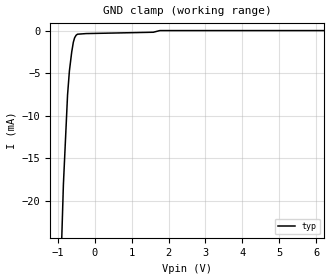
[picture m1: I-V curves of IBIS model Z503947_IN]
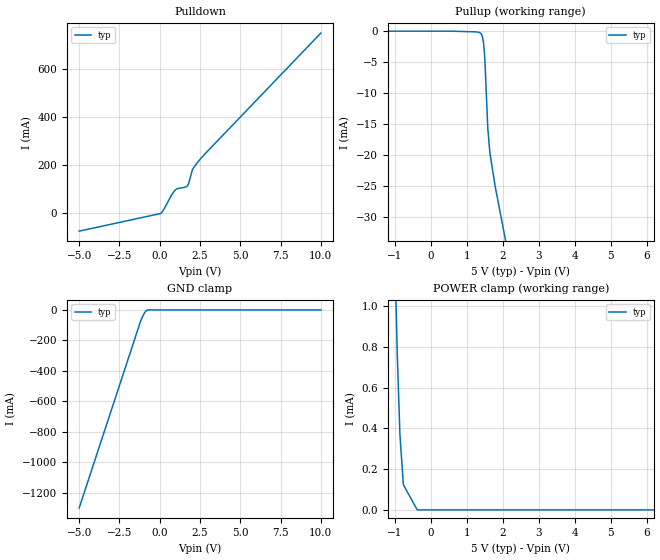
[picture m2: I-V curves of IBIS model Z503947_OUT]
| YOU ARE ONLY AUTHORIZED TO USE THIS SOFTWARE
| ACCORDING TO LICENSOR'S LICENSE RESTRICTIONS.
[IBIS Ver] 3.1
[File Name] mc54f86j.ibs
[File Rev] 2.0
[Source] Measured and created by ICX Technology
[Date] Friday 7/14/00 9:08:03 AM
[Copyright]
| (C) COPYRIGHT 1993-2000
| MENTOR GRAPHICS CORPORATION
| ICX STANDARD LIBRARY, ICX PROJECT MODELING,
| ICX CUSTOM MODELING, ICX VENDOR MODEL
| ALL RIGHTS RESERVED.
| THE FOLLOWING ARE TRADEMARKS OR SERVICE MARKS OF
| MENTOR GRAPHICS CORPORATION:ICX (R), ICX STANDARD
| LIBRARY(R), ICX PROJECT MODELING(R), ICX CUSTOM
| MODELING(R), qualityIBIS(TM), MODELVIEWER(TM),
| AND MODELEDITOR(TM)
| ALL COPIES OF SOFTWARE, INCLUDING BUT NOT LIMITED TO
| ANY MODIFICATIONS, ENHANCEMENTS OR DERIVATIVE WORKS,
| MUST CONTAIN ALL MENTOR GRAPHICS CORPORATION'S
| NOTICES AND LEGENDS, INCLUDING THOSE EMBEDDED IN
| SOFTWARE AND THOSE AFFIXED TO SOFTWARE MEDIUM
| AND CONTAINER, AS RECEIVED FROM MENTOR GRAPHICS
| CORPORATION.
|  ZAP Model Builder 2.7
[Component] MC54F86J
[Manufacturer] OnSemiconductor
[Package]
| variable   typ   min   max
R_pkg  .21ohms NA NA
L_pkg  4.543nH NA NA
C_pkg  1.8pF NA NA
[Pin] signal_name  model_name  R_pin  L_pin C_pin
1 A Z503947_IN .22 6.757n 2.434p
2 B Z503947_IN .212 4.757n 1.941p
3 Y Z503947_OUT .204 3.257n 1.448p
4 A Z503947_IN .196 2.257n .955p
5 B Z503947_IN .204 3.257n 1.448p
6 Y Z503947_OUT .212 4.757n 1.941p
7 GND GND .22 6.757n 2.434p
8 Y Z503947_OUT .22 6.757n 2.434p
9 A Z503947_IN .212 4.757n 1.941p
10 B Z503947_IN .204 3.257n 1.448p
11 Y Z503947_OUT .196 2.257n .955p
12 A Z503947_IN .204 3.257n 1.448p
13 B Z503947_IN .212 4.757n 1.941p
14 VCC POWER .22 6.757n 2.434p
| Models and submodels in the file (2): Z503947_IN (Input), Z503947_OUT (Output)
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| (C) COPYRIGHT 1993-2000
| MENTOR GRAPHICS CORPORATION
| ICX STANDARD LIBRARY, ICX PROJECT MODELING,
| ICX CUSTOM MODELING, ICX VENDOR MODEL
| ALL RIGHTS RESERVED.
| THE FOLLOWING ARE TRADEMARKS OR SERVICE MARKS OF
| MENTOR GRAPHICS CORPORATION:ICX (R), ICX STANDARD
| LIBRARY(R), ICX PROJECT MODELING(R), ICX CUSTOM
| MODELING(R), qualityIBIS(TM), MODELVIEWER(TM),
| AND MODELEDITOR(TM)
| ALL COPIES OF SOFTWARE, INCLUDING BUT NOT LIMITED TO
| ANY MODIFICATIONS, ENHANCEMENTS OR DERIVATIVE WORKS,
| MUST CONTAIN ALL MENTOR GRAPHICS CORPORATION'S
| NOTICES AND LEGENDS, INCLUDING THOSE EMBEDDED IN
| SOFTWARE AND THOSE AFFIXED TO SOFTWARE MEDIUM
| AND CONTAINER, AS RECEIVED FROM MENTOR GRAPHICS
| CORPORATION.
| Model Application Version 1.89 2/18/99.
[Model] Z503947_IN
Model_type Input
Vinl = 800.0mV
Vinh = 2.000V
C_comp 4.000pF NA NA
| variable typ   min   max
[Voltage Range] 5.000V NA NA
[GND Clamp Reference] 0.000V NA NA
[POWER Clamp Reference] 5.000V NA NA
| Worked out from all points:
|   GND clamp passes 1 mA (typ) near -0.55 V on its own axis
[GND Clamp]
-5V       -606.5mA   NA         NA
-844.7mV  -18.07mA   NA         NA
-732.4mV  -7.561mA   NA         NA
-682.8mV  -4.757mA   NA         NA
-620.3mV  -2.532mA   NA         NA
-576.2mV  -1.374mA   NA         NA
-541.9mV  -854.1uA   NA         NA
-501mV    -552.6uA   NA         NA
-463.3mV  -430.6uA   NA         NA
1.588V    -200.1uA   NA         NA
1.763V    -4.701uA   NA         NA
10V       -4.701uA   NA         NA
[POWER Clamp]
-5V       0A         NA         NA
10V       0A         NA         NA
| (C) COPYRIGHT 1993-2000
| MENTOR GRAPHICS CORPORATION
| ICX STANDARD LIBRARY, ICX PROJECT MODELING,
| ICX CUSTOM MODELING, ICX VENDOR MODEL
| ALL RIGHTS RESERVED.
| THE FOLLOWING ARE TRADEMARKS OR SERVICE MARKS OF
| MENTOR GRAPHICS CORPORATION:ICX (R), ICX STANDARD
| LIBRARY(R), ICX PROJECT MODELING(R), ICX CUSTOM
| MODELING(R), qualityIBIS(TM), MODELVIEWER(TM),
| AND MODELEDITOR(TM)
| ALL COPIES OF SOFTWARE, INCLUDING BUT NOT LIMITED TO
| ANY MODIFICATIONS, ENHANCEMENTS OR DERIVATIVE WORKS,
| MUST CONTAIN ALL MENTOR GRAPHICS CORPORATION'S
| NOTICES AND LEGENDS, INCLUDING THOSE EMBEDDED IN
| SOFTWARE AND THOSE AFFIXED TO SOFTWARE MEDIUM
| AND CONTAINER, AS RECEIVED FROM MENTOR GRAPHICS
| CORPORATION.
| Model Application Version 1.89 2/18/99.
[Model] Z503947_OUT
Model_type Output
Vref=0.000V
Rref=500.0ohms
Cref=50.00pF
Vmeas=1.500V
C_comp 8.000pF NA NA
| variable typ   min   max
[Voltage Range] 5.000V NA NA
[POWER Clamp Reference] 5.000V NA NA
[Pullup Reference] 5.000V NA NA
[Pulldown Reference] 0.000V NA NA
[GND Clamp Reference] 0.000V NA NA
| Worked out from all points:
|   slope of the pulldown table from 0 to 0.75 V, typ, clamps not added: 9.51 ohm
|   slope of the pullup table from 0 to 0.75 V, typ, clamps not added: 28.4 kohm
|   GND clamp passes 1 mA (typ) near -0.76 V on its own axis
|   POWER clamp passes 1 mA (typ) near -0.97 V on its own axis
[GND Clamp]
-5V       -1.301A    NA         NA
-1.2V     -77.76mA   NA         NA
-1.08V    -45.54mA   NA         NA
-917.4mV  -14.64mA   NA         NA
-810.5mV  -2.583mA   NA         NA
-720.4mV  0A         NA         NA
10V       0A         NA         NA
[Pulldown]
-5V       -74.21mA   NA         NA
87.85mV   141uA      NA         NA
252.5mV   15.36mA    NA         NA
708.6mV   72.69mA    NA         NA
962mV     96.24mA    NA         NA
1.136V    102.8mA    NA         NA
1.686V    110.9mA    NA         NA
1.807V    126.7mA    NA         NA
2.01V     176.3mA    NA         NA
2.081V    186.5mA    NA         NA
2.481V    221.9mA    NA         NA
10V       747.1mA    NA         NA
[Pullup]
-5V       8.42uA     NA         NA
586mV     8.42uA     NA         NA
1.241V    -97.13uA   NA         NA
1.343V    -167.7uA   NA         NA
1.401V    -424.3uA   NA         NA
1.435V    -952.3uA   NA         NA
1.464V    -1.945mA   NA         NA
1.499V    -4.453mA   NA         NA
1.582V    -15.78mA   NA         NA
1.641V    -19.76mA   NA         NA
1.787V    -25.13mA   NA         NA
10V       -274mA     NA         NA
[POWER Clamp]
-5V       37.79mA    NA         NA
-1.107V   2.018mA    NA         NA
-938mV    762.8uA    NA         NA
-864mV    369.1uA    NA         NA
-767mV    123.3uA    NA         NA
-383.5mV  0A         NA         NA
10V       0A         NA         NA
[Ramp]
| variable typ min max
dV/dt_r 2.042/1.665n NA NA
dV/dt_f 2.042/997.0p NA NA
R_load = 500.0Ohms
